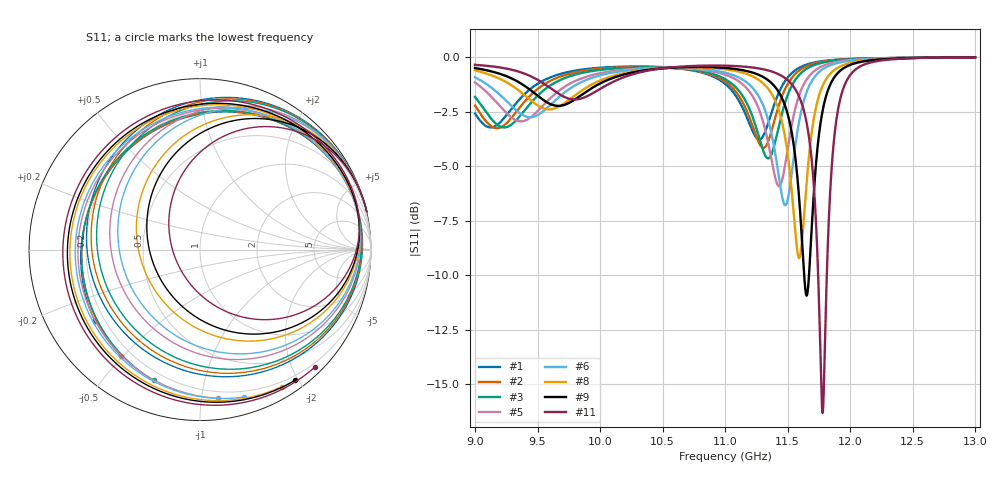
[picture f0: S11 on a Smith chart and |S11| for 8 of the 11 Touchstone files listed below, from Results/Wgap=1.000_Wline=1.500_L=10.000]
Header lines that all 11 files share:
! TOUCHSTONE file generated by CST DESIGN STUDIO
! Project name: C:\Work\MatlabApps\UnitCellOptimizationMatlab\CST\unitcell.cst
! Tree item: Tasks\Sweep1\SPara1\S-Parameters
! Header version: 2024
! Port assignment regex: !\s*Touchstone port\s*([0-9]+)\s*=\s*(CST MWS port|CST DES external port|CST DES block port)\s*(.+)\s* \(\"(.*)\"\)(\s*mode\s*([0-9]+))?.*
! Touchstone port assignment:
! Touchstone port 1 = CST DES external port 1 ("")
# GHz S MA R 50
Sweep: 9 GHz to 13 GHz
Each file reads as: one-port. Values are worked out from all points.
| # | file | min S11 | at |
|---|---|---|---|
| 1 | DS_for_MWS-run-0001.s1p | -3.8 dB | 11.27 GHz |
| 2 | DS_for_MWS-run-0002.s1p | -4.2 dB | 11.31 GHz |
| 3 | DS_for_MWS-run-0003.s1p | -4.6 dB | 11.35 GHz |
| 4 | DS_for_MWS-run-0004.s1p | -5.2 dB | 11.39 GHz |
| 5 | DS_for_MWS-run-0005.s1p | -5.9 dB | 11.43 GHz |
| 6 | DS_for_MWS-run-0006.s1p | -6.8 dB | 11.48 GHz |
| 7 | DS_for_MWS-run-0007.s1p | -7.9 dB | 11.54 GHz |
| 8 | DS_for_MWS-run-0008.s1p | -9.2 dB | 11.59 GHz |
| 9 | DS_for_MWS-run-0009.s1p | -10.9 dB | 11.65 GHz |
| 10 | DS_for_MWS-run-0010.s1p | -13.2 dB | 11.72 GHz |
| 11 | DS_for_MWS-run-0011.s1p | -16.3 dB | 11.78 GHz |
